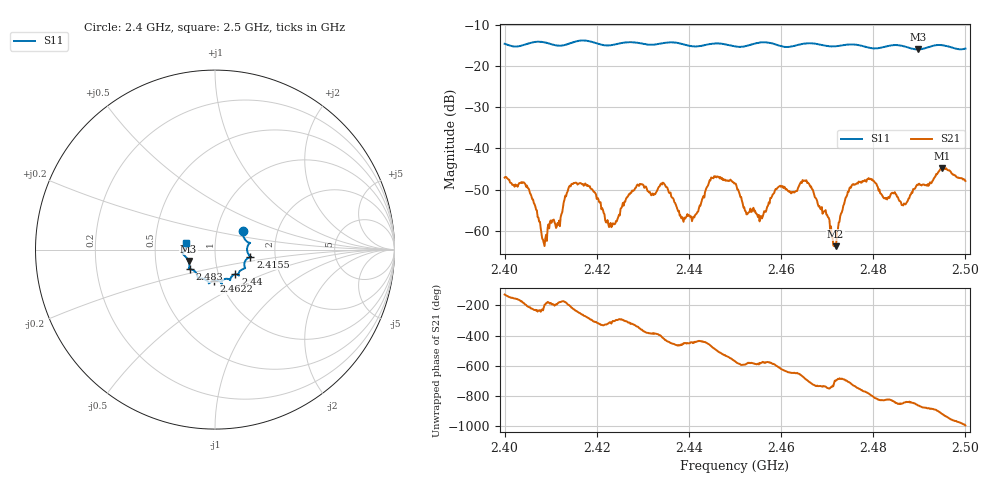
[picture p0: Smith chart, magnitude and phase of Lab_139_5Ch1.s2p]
# Hz S RI R 50
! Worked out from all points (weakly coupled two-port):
!   601 points, 2.4 GHz to 2.5 GHz, reference 50 ohm
!   highest |S21| = -44.72 dB at 2.495 GHz (marker M1); lowest = -63.8 dB at 2.4718 GHz (marker M2)
!   lowest |S11| = -15.9 dB at 2.4897 GHz (marker M3), VSWR 1.38, Z = 36.9 - j4.81 ohm
!   |S11| at or under -10 dB: start of sweep to end of sweep
!   S12 and S22 are empty: the file has one direction only
!   S11 on the Smith chart (normalised r, x): 2.4 GHz: 1.33, +0.29; 2.4155 GHz: 1.49, -0.12; 2.44 GHz: 1.20, -0.34; 2.4622 GHz: 0.93, -0.33; 2.483 GHz: 0.74, -0.17; 2.5 GHz: 0.72, +0.06
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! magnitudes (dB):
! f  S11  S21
! 2.4 GHz  -14.5  -47.1
! 2.4048 GHz  -14.5  -49.0
! 2.4087 GHz  -14.2  -63.8
! 2.4155 GHz  -13.9  -48.3
! 2.4167 GHz  -13.7  -48.6
! 2.423 GHz  -14.9  -58.1
! 2.4288 GHz  -14.3  -48.8
! 2.4333 GHz  -14.6  -49.6
! 2.44 GHz  -15.0  -56.2
! 2.445 GHz  -14.5  -47.2
! 2.45 GHz  -15.1  -48.5
! 2.4555 GHz  -14.2  -56.5
! 2.4593 GHz  -14.9  -49.5
! 2.4622 GHz  -15.2  -50.9
! 2.4667 GHz  -14.4  -49.8
! 2.4718 GHz  -15.1  -63.8
! 2.4753 GHz  -14.7  -49.0
! 2.483 GHz  -15.1  -52.4
! 2.4833 GHz  -15.0  -51.8
! 2.4897 GHz  -15.9  -48.9
! 2.495 GHz  -14.8  -44.7
! 2.5 GHz  -15.7  -47.9
